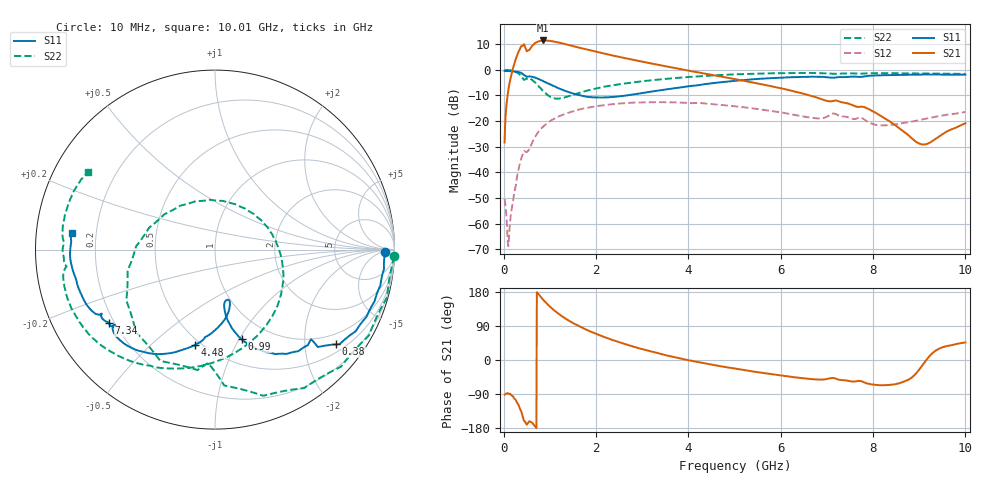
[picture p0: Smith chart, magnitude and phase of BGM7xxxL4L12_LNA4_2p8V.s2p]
! (c) 2014 Infineon Technologies AG
! BGM7xxxL4L12 - Silicon Germanium Quad-Band LTE LNA bank
! 20 May 2014
! Special Application Board
! C1 = L1 = 0 Ohm
! C2 = 100 nF
! Vcc = 2.8V
! RF input and output lines de-embedded
! Port 1 reference plane: LNA input AI (pin 2)
! Port 2 reference plane: LNA output AO (pin 3)
! Network Data:
! Measured BGM7xxxL4L12 device level s-parameters
# GHz S MA R 50
!Freq  MagS11  AngS11  MagS21  AngS21  MagS12  AngS12  MagS22  AngS22
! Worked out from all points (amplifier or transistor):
!   1001 points, 10 MHz to 10.01 GHz, reference 50 ohm
!   highest |S21| = 11.4 dB at 850 MHz (marker M1)
!   |S21| within 3 dB of that: 573.8 MHz to 1.67 GHz (1.096 GHz wide, 97.7 % of centre)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
!   unconditionally stable (mu >= 1): 11.44 MHz to end of sweep
!   at 1.67 GHz: K = 1.14, MAG = 9.6 dB, |S12| = -15.3 dB
!   at 5.01 GHz: K = 1.26, MAG = 2.2 dB, |S12| = -14.2 dB
!   at 10.01 GHz: K = 4.47, MAG = -11.7 dB, |S12| = -16.4 dB
!   lowest NFmin = 0.65 dB at 850 MHz
!   S11 on the Smith chart (normalised r, x): 10 MHz: 35, -9; 380 MHz: 0.70, -2.74; 990 MHz: 0.75, -1.03; 4.48 GHz: 0.47, -0.70; 7.34 GHz: 0.18, -0.30; 10.01 GHz: 0.11, +0.06
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0.01  0.9476 -0.8  0.03837 -91.6  0.003043 10.4  0.9995 -2.2
0.1  0.9415 -9.4  0.4556 -89.2  0.0004594 141.6  0.9765 -22.3
0.22  0.9254 -20.9  1.312 -101.6  0.004027 -177.3  0.9258 -49.9
0.32  0.8982 -31.2  2.303 -121.4  0.01237 175.9  0.8355 -73.8
0.38  0.8558 -38.1  2.877 -139.6  0.01975 162.8  0.7357 -87.1
0.42  0.8007 -42.3  3.063 -156.4  0.02494 149.9  0.6515 -92.0
0.48  0.7411 -43.0  2.42 -168.3  0.02492 139.0  0.6703 -97.5
0.54  0.7401 -45.3  2.413 -162.8  0.02781 145.4  0.6831 -113.3
0.65  0.712 -53.8  3.175 -171.9  0.0454 143.4  0.5834 -144.3
0.85  0.5997 -67.3  3.72 158.6  0.07896 124.7  0.3866 161.4
0.99  0.5216 -73.4  3.643 141.2  0.09895 112.7  0.3006 123.2
1.26  0.4082 -79.5  3.266 115.0  0.1318 94.8  0.2811 55.7
1.68  0.3126 -80.7  2.622 85.9  0.1727 74.9  0.365 -3.8
2.37  0.2955 -74.3  1.881 52.1  0.2143 51.0  0.5009 -53.4
3.35  0.3936 -82.2  1.244 17.3  0.234 26.4  0.6442 -94.7
4.48  0.5417 -101.7  0.8025 -11.6  0.2159 6.0  0.7696 -125.1
5.01  0.6088 -110.7  0.6561 -22.9  0.1949 -0.7  0.8134 -136.0
6.68  0.7318 -136.7  0.3077 -50.5  0.1162 -0.2  0.8638 -165.4
7.34  0.7202 -145.2  0.2309 -53.0  0.1229 1.7  0.8436 -175.9
8.35  0.7874 -162.4  0.1012 -66.0  0.08363 21.9  0.8581 166.9
9.09  0.8066 -175.6  0.035 -11.5  0.1083 41.5  0.8492 156.8
10.01  0.8042 173.5  0.09095 46.0  0.151 46.3  0.8287 148.3
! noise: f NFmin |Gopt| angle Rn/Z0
0.7  0.6928  0.4463  45.69  0.1741
0.75  0.6945  0.4242  46.59  0.1509
0.8  0.6771  0.4283  51.5  0.1405
0.85  0.6462  0.4179  54.85  0.1419
0.9  0.6614  0.399  56.8  0.1421
0.95  0.7037  0.3956  60.02  0.1379
1  0.7225  0.3931  63.79  0.1361
